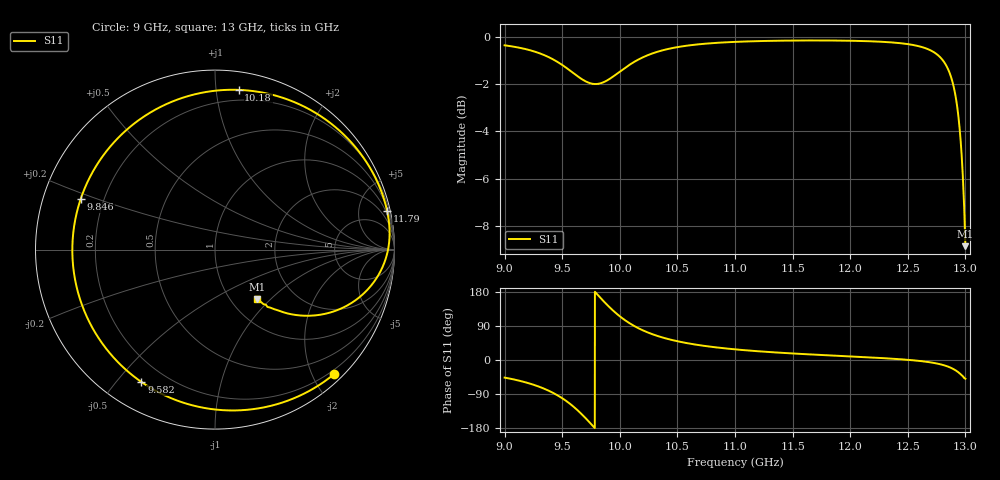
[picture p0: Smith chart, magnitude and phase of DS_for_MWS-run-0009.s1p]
! TOUCHSTONE file generated by CST DESIGN STUDIO
! Date and time: Tue Feb  4 18:44:00 2025
! Project name: C:\Work\MatlabApps\UnitCellOptimizationMatlab\CST\unitcell.cst
! Tree item: Tasks\Sweep1\SPara1\S-Parameters
! Header version: 2024
! Port assignment regex: !\s*Touchstone port\s*([0-9]+)\s*=\s*(CST MWS port|CST DES external port|CST DES block port)\s*(.+)\s* \(\"(.*)\"\)(\s*mode\s*([0-9]+))?.*
! Touchstone port assignment:
! Touchstone port 1 = CST DES external port 1 ("")
# GHz S MA R 50
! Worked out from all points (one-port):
!   4001 points, 9 GHz to 13 GHz, reference 50 ohm
!   lowest |S11| = -8.9 dB at 13 GHz (marker M1), VSWR 2.13, Z = 65.7 - j41.4 ohm
!   |S11| at or under -10 dB: nowhere
!   S11 on the Smith chart (normalised r, x): 9 GHz: 0.13, -2.33; 9.582 GHz: 0.11, -0.58; 9.846 GHz: 0.11, +0.18; 10.18 GHz: 0.12, +1.15; 11.79 GHz: 0.72, +9.07; 13 GHz: 1.31, -0.83
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9  0.9599 -46.4
9.141  0.9473 -55.7
9.271  0.9293 -67.3
9.402  0.9014 -83.9
9.5  0.8724 -100.8
9.582  0.8438 -119.1
9.653  0.8193 -138.2
9.728  0.8003 -161.5
9.787  0.7949 179.0
9.846  0.7996 159.4
9.925  0.8191 135.1
10  0.8445 115.3
10.081  0.872 97.8
10.177  0.8997 81.5
10.326  0.9301 63.5
10.5  0.9516 49.5
10.717  0.9664 38.0
11  0.9762 28.1
11.5  0.9825 17.2
11.795  0.9828 12.5
12  0.9816 9.5
12.5  0.9656 0.5
12.717  0.9313 -7.2
12.841  0.8632 -16.5
12.893  0.7944 -23.4
12.937  0.6866 -32.0
12.966  0.5695 -39.6
13  0.3606 -49.5
